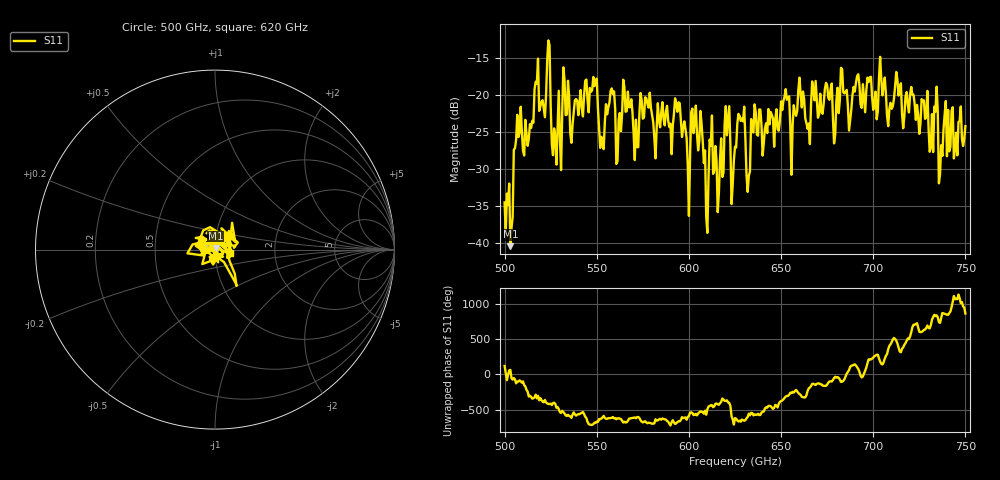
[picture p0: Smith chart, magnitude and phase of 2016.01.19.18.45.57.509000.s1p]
!Created with skrf (http://scikit-rf.org).
# GHz S RI R 50.0
!freq ReS11 ImS11
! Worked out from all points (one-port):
!   401 points, 500 GHz to 750 GHz, reference 50 ohm
!   lowest |S11| = -40.4 dB at 503.1 GHz (marker M1), VSWR 1.02, Z = 50.4 + j0.854 ohm
!   |S11| at or under -10 dB: start of sweep to end of sweep
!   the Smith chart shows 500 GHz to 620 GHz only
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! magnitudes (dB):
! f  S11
! 500 GHz  -34.5
! 503.1 GHz  -40.4
! 507.5 GHz  -25.7
! 517.5 GHz  -18.4
! 523.8 GHz  -12.6
! 526.9 GHz  -24.5
! 531.2 GHz  -22.5
! 548.8 GHz  -18.7
! 552.5 GHz  -25.6
! 558.1 GHz  -19.1
! 562.5 GHz  -22.4
! 593.8 GHz  -22.2
! 599.4 GHz  -29.5
! 602.5 GHz  -25.1
! 607.5 GHz  -26.3
! 609.4 GHz  -36.4
! 612.5 GHz  -22.7
! 616.9 GHz  -28.7
! 620.6 GHz  -25.4
! 625 GHz  -26.9
! 653.1 GHz  -20.6
! 656.2 GHz  -24.2
! 660.6 GHz  -19.9
! 687.5 GHz  -23.3
! 718.8 GHz  -21.2
! 733.8 GHz  -22.2
! 736.9 GHz  -26.8
! 750 GHz  -24.2
